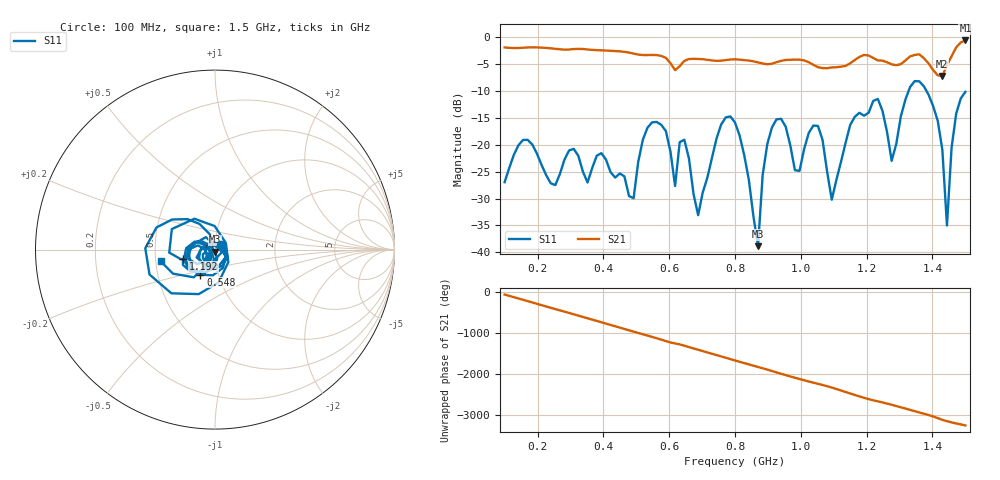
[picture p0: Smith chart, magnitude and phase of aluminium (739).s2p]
! NanoVNA-App
! Date: 2025-09-25 15:01:02
! Start: 100MHz Stop: 1,5GHz Points: 101
! S-Parameter data: F S11 S21 S12 S22
# Hz S RI R 50
!  Frequency  S11_Real  S11_Imag  S21_Real  S21_Imag  S12_Real  S12_Imag  S22_Real  S22_Imag
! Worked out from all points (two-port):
!   101 points, 100 MHz to 1.5 GHz, reference 50 ohm
!   highest |S21| = -0.62 dB at 1.5 GHz (marker M1); lowest = -7.2 dB at 1.43 GHz (marker M2)
!   |S21| within 3 dB of the highest: start of sweep to 580.8 MHz; 1.457 GHz to end of sweep (the widest 2 of 4)
!   lowest |S11| = -38.8 dB at 870 MHz (marker M3), VSWR 1.02, Z = 50 - j1.14 ohm
!   |S11| at or under -10 dB: start of sweep to 1.328 GHz; 1.382 GHz to end of sweep
!   S12 and S22 are empty: the file has one direction only
!   S11 on the Smith chart (normalised r, x): 100 MHz: 1.07, +0.06; 548 MHz: 0.82, -0.23; 1.192 GHz: 0.69, -0.07; 1.5 GHz: 0.53, -0.08
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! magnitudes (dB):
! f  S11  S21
! 100 MHz  -27.0  -1.9
! 156 MHz  -19.1  -2.0
! 338 MHz  -25.0  -2.2
! 492 MHz  -29.9  -3.1
! 548 MHz  -15.8  -3.3
! 576 MHz  -16.3  -3.5
! 618 MHz  -27.7  -6.1
! 646 MHz  -19.1  -4.4
! 688 MHz  -33.1  -4.1
! 800 MHz  -15.9  -4.1
! 870 MHz  -38.8  -4.7
! 912 MHz  -16.8  -4.9
! 996 MHz  -24.9  -4.2
! 1.038 GHz  -16.4  -5.1
! 1.094 GHz  -30.2  -5.6
! 1.192 GHz  -14.6  -3.3
! 1.276 GHz  -23.0  -5.1
! 1.346 GHz  -8.2  -3.3
! 1.43 GHz  -21.0  -7.2
! 1.444 GHz  -35.0  -5.2
! 1.472 GHz  -14.2  -1.9
! 1.5 GHz  -10.2  -0.6
